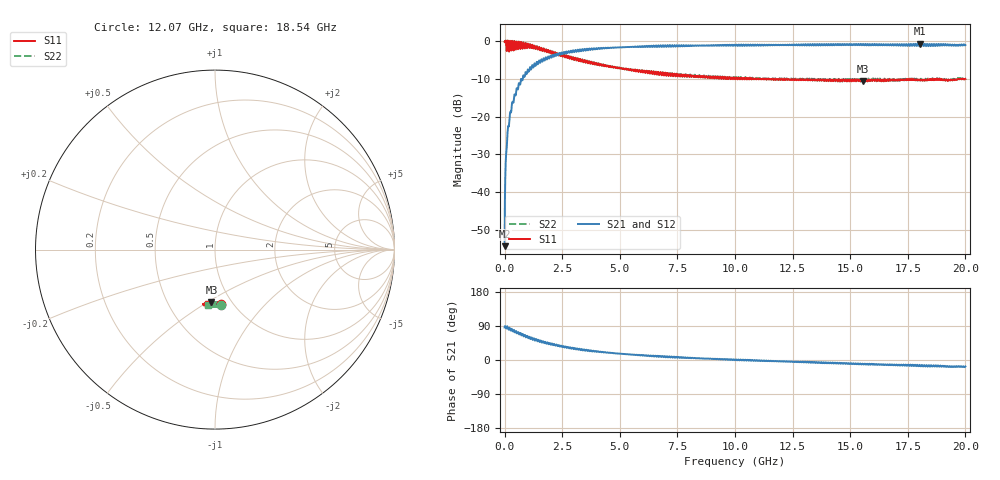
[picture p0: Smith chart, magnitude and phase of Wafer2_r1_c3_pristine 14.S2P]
!  2-Port S-parameters saved by WinCal
! VAR MeasName=S-Parameters (CALIBRATED_DATA) read from VNA (P5004A)
! VAR MeasDate=24/04/2024 16:16:25
! VAR NAME=Wafer2_r1_c3_pristine 14
! VAR FILENAME=Wafer2_r1_c3_pristine 14.S2P
! VAR DATE=24/04/2024 16:16:25
! VAR PHYS_PORTS=1,2
! VAR ObjTypeName=DATASET
! VAR IndexType=Frequency
# Hz S MA R 50
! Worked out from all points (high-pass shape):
!   4999 points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, 4.01 MHz to 20 GHz, reference 50 ohm
!   highest |S21| = -0.64 dB at 18.04 GHz (marker M1); lowest = -54.4 dB at 4.01 MHz (marker M2)
!   |S21| within 3 dB of the highest: 2.251 GHz to 2.322 GHz (70.29 MHz wide, 3.07 % of centre); 2.337 GHz to end of sweep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
!   lowest |S11| = -10.7 dB at 15.56 GHz (marker M3), VSWR 1.83, Z = 40.6 - j26 ohm
!   |S11| at or under -10 dB: 11.72 GHz to 11.81 GHz (90.45 MHz wide, 0.769 % of centre); 11.82 GHz to 18.46 GHz (6.642 GHz wide, 43.9 % of centre); 18.97 GHz to 19.69 GHz (714 MHz wide, 3.69 % of centre)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
!   |S22| runs from -10.7 to 0.2 dB; largest |S21 - S12| = 0.015
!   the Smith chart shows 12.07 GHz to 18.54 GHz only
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4009798  0.988 -3.1  0.001904 85.9  0.001926 86.0  0.9876 -3.0
7.602417e7  0.8997 -2.4  0.03341 83.5  0.03363 84.4  0.9127 -2.4
1.080306e8  0.7903 -5.1  0.04465 87.5  0.04599 87.0  0.8208 -4.4
1.400369e8  1.025 -4.0  0.06663 84.3  0.06625 84.2  1.019 -4.2
1.840457e8  0.7677 -2.9  0.07444 81.5  0.07671 82.3  0.7951 -3.5
2.480585e8  0.9943 -8.6  0.1141 79.3  0.1129 79.5  1.003 -8.3
3.480785e8  0.979 -11.6  0.1564 76.2  0.1555 76.3  0.9776 -11.3
4.921072e8  0.783 -11.1  0.1977 75.9  0.2013 75.7  0.8065 -11.5
6.281343e8  0.9733 -19.0  0.2774 68.2  0.2768 68.1  0.9735 -18.7
8.121711e8  0.9629 -22.1  0.353 65.3  0.3541 65.2  0.968 -21.7
1.032215e9  0.8775 -29.1  0.4049 57.4  0.4059 57.5  0.8791 -28.8
1.552319e9  0.7651 -35.5  0.5235 50.8  0.5246 50.5  0.7627 -35.1
2.436495e9  0.6394 -47.6  0.6708 37.5  0.6701 37.5  0.6401 -46.7
3.340676e9  0.5478 -55.1  0.7564 28.9  0.756 28.9  0.547 -54.0
4.752957e9  0.4545 -65.4  0.8235 18.1  0.8247 18.0  0.4557 -64.3
6.673341e9  0.3933 -72.1  0.8853 9.8  0.8846 9.5  0.3896 -70.1
1.0002e10  0.3172 -82.3  0.879 -0.2  0.874 -0.3  0.3188 -79.5
1.333467e10  0.3125 -85.8  0.8909 -4.9  0.889 -4.7  0.3202 -83.0
1.555911e10  0.2932 -93.8  0.9246 -10.7  0.9201 -10.3  0.2945 -90.7
1.667134e10  0.2989 -96.9  0.9012 -13.6  0.8982 -12.8  0.3114 -93.1
1.803561e10  0.3038 -96.0  0.9287 -14.6  0.9312 -15.3  0.3018 -97.2
2e10  0.3169 -97.4  0.892 -17.1  0.8949 -17.1  0.3181 -95.6
